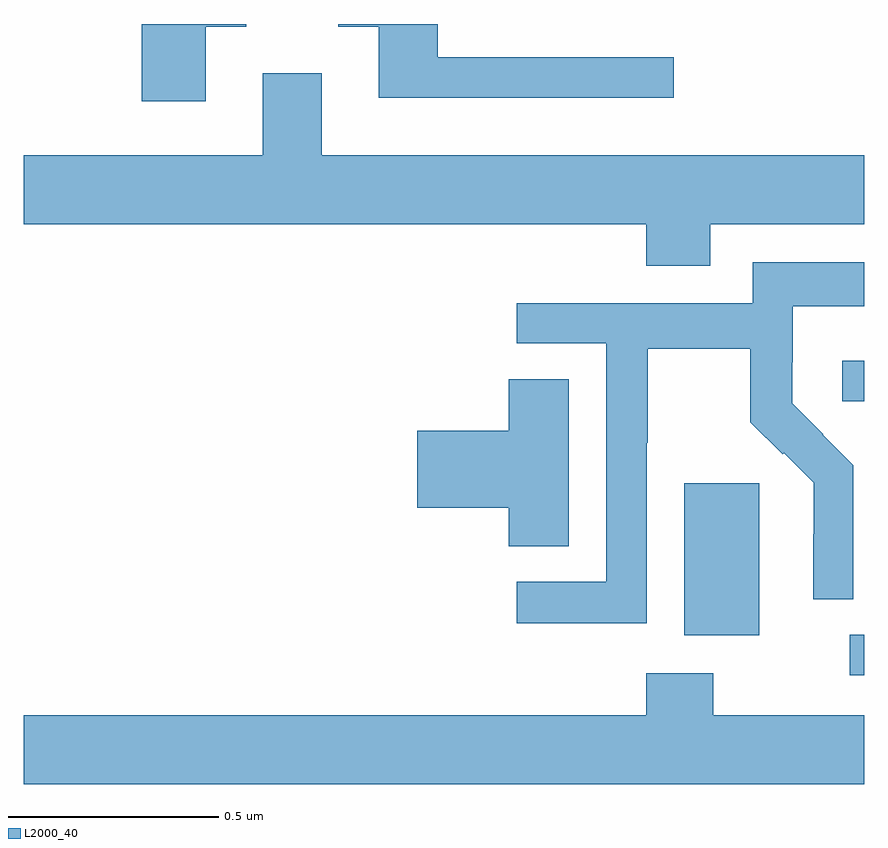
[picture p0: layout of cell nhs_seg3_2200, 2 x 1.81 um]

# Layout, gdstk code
import gdstk
lib = gdstk.Library(unit=1e-6, precision=1e-09)
def R(c, l, rs):  # rectangles x0, y0, x1, y1
    for r in rs: c.add(gdstk.rectangle(r[:2], r[2:], *l))
def P(c, l, *ps):  # polygons
    for p in ps: c.add(gdstk.Polygon(p, *l))
L2000_40 = (2000, 40)

nhs_seg3_2200 = lib.new_cell('nhs_seg3_2200')
R(nhs_seg3_2200, L2000_40, [(139.965,691.851,140,691.947), (139.571,691.946,139.75,692.307), (139.947,692.502,140,692.599)])
P(nhs_seg3_2200, L2000_40, [(138.433,693.393),(138.529,693.393),(138.529,693.4),(138.281,693.4),(138.281,693.216),(138.433,693.216)],
  [(139.546,693.321),(138.985,693.321),(138.985,693.4),(138.749,693.4),(138.749,693.393),(138.845,693.393),(138.845,693.224),(139.546,693.224)],
  [(139.633,692.924),(140,692.924),(140,693.088),(138.709,693.088),(138.709,693.283),(138.569,693.283),(138.569,693.088),(138,693.088),(138,692.924),(139.481,692.924),(139.481,692.825),(139.633,692.825)],
  [(139.482,692.404),(139.485,692.404),(139.485,692.628),(139.729,692.628),(139.729,692.453),(139.806,692.376),(139.809,692.379),(139.88,692.309),(139.88,692.186),(139.878,692.186),(139.878,692.032),(139.974,692.032),(139.974,692.35),(139.901,692.423),(139.902,692.424),(139.828,692.498),(139.828,692.595),(139.83,692.595),(139.83,692.729),(140,692.729),(140,692.833),(139.734,692.833),(139.734,692.736),(139.173,692.736),(139.173,692.64),(139.386,692.64),(139.386,692.073),(139.173,692.073),(139.173,691.975),(139.482,691.975)],
  [(139.297,692.555),(139.154,692.555),(139.154,692.432),(138.936,692.432),(138.936,692.249),(139.154,692.249),(139.154,692.158),(139.297,692.158)],
  [(140,691.756),(139.641,691.756),(139.641,691.855),(139.481,691.855),(139.481,691.756),(138,691.756),(138,691.592),(140,691.592)])

lib.write_gds('nhs_seg3_2200.gds')
